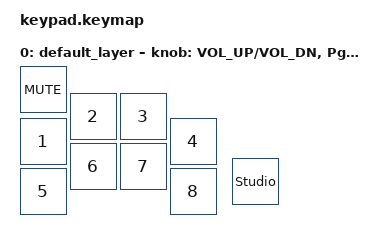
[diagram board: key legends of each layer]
#include <behaviors.dtsi>
#include <dt-bindings/zmk/keys.h>
#include <dt-bindings/zmk/outputs.h>

/ {
    keymap {
        compatible = "zmk,keymap";
        
        default_layer {
            bindings = <
                &kp N1     &kp N2          &kp N3    &kp N4
                &kp N5     &kp N6          &kp N7    &kp N8
                &kp C_MUTE &studio_unlock
            >;
            sensor-bindings = <&inc_dec_kp C_VOL_UP C_VOL_DN &inc_dec_kp PG_UP PG_DN>;
        };
        
        extra1 {
            status = "reserved";
        };

        extra2 {
            status = "reserved";
        };
    };
};
